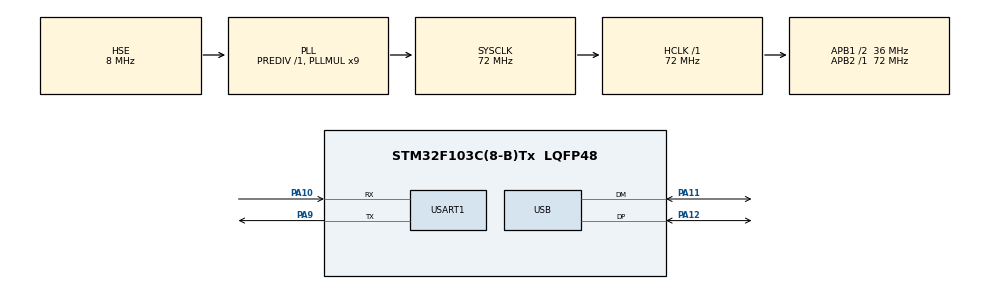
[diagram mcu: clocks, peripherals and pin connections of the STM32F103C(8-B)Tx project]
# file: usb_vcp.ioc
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Mcu.Family=STM32F1
Mcu.Name=STM32F103C(8-B)Tx
Mcu.Package=LQFP48
NVIC.PriorityGroup=NVIC_PRIORITYGROUP_4
NVIC.USB_LP_CAN1_RX0_IRQn=true\:0\:0\:false\:false\:true\:false\:true
PA10.Mode=Asynchronous
PA10.Signal=USART1_RX
PA11.Mode=Device
PA11.Signal=USB_DM
PA12.Mode=Device
PA12.Signal=USB_DP
PA13.Mode=Serial_Wire
PA13.Signal=SYS_JTMS-SWDIO
PA14.Mode=Serial_Wire
PA14.Signal=SYS_JTCK-SWCLK
PA9.Mode=Asynchronous
PA9.Signal=USART1_TX
PD0-OSC_IN.Mode=HSE-External-Oscillator
PD0-OSC_IN.Signal=RCC_OSC_IN
PD1-OSC_OUT.Mode=HSE-External-Oscillator
PD1-OSC_OUT.Signal=RCC_OSC_OUT
ProjectManager.HeapSize=0x200
ProjectManager.StackSize=0x400
ProjectManager.TargetToolchain=TrueSTUDIO
RCC.AHBFreq_Value=72000000
RCC.APB1CLKDivider=RCC_HCLK_DIV2
RCC.APB1Freq_Value=36000000
RCC.APB1TimFreq_Value=72000000
RCC.APB2Freq_Value=72000000
RCC.APB2TimFreq_Value=72000000
RCC.HCLKFreq_Value=72000000
RCC.PLLMUL=RCC_PLL_MUL9
RCC.PLLSourceVirtual=RCC_PLLSOURCE_HSE
RCC.SYSCLKFreq_VALUE=72000000
RCC.SYSCLKSource=RCC_SYSCLKSOURCE_PLLCLK
RCC.USBFreq_Value=48000000
RCC.USBPrescaler=RCC_USBCLKSOURCE_PLL_DIV1_5
USART1.VirtualMode=VM_ASYNC
USB_DEVICE.CLASS_NAME_FS=CDC
USB_DEVICE.VirtualMode=Cdc
USB_DEVICE.VirtualModeFS=Cdc_FS
VP_USB_DEVICE_VS_USB_DEVICE_CDC_FS.Mode=CDC_FS
board=custom

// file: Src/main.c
/* USER CODE BEGIN Header */
/**
  ******************************************************************************
  * @file           : main.c
  * @brief          : Main program body
  ******************************************************************************
  * This notice applies to any and all portions of this file
  * that are not between comment pairs USER CODE BEGIN and
  * USER CODE END. Other portions of this file, whether
  * inserted by the user or by software development tools
  * are owned by their respective copyright owners.
  *
  * Copyright (c) 2019 STMicroelectronics International N.V.
  * All rights reserved.
  *
  * Redistribution and use in source and binary forms, with or without
  * modification, are permitted, provided that the following conditions are met:
  *
  * 1. Redistribution of source code must retain the above copyright notice,
  *    this list of conditions and the following disclaimer.
  * 2. Redistributions in binary form must reproduce the above copyright notice,
  *    this list of conditions and the following disclaimer in the documentation
  *    and/or other materials provided with the distribution.
  * 3. Neither the name of STMicroelectronics nor the names of other
  *    contributors to this software may be used to endorse or promote products
  *    derived from this software without specific written permission.
  * 4. This software, including modifications and/or derivative works of this
  *    software, must execute solely and exclusively on microcontroller or
  *    microprocessor devices manufactured by or for STMicroelectronics.
  * 5. Redistribution and use of this software other than as permitted under
  *    this license is void and will automatically terminate your rights under
  *    this license.
  *
  * THIS SOFTWARE IS PROVIDED BY STMICROELECTRONICS AND CONTRIBUTORS "AS IS"
  * AND ANY EXPRESS, IMPLIED OR STATUTORY WARRANTIES, INCLUDING, BUT NOT
  * LIMITED TO, THE IMPLIED WARRANTIES OF MERCHANTABILITY, FITNESS FOR A
  * PARTICULAR PURPOSE AND NON-INFRINGEMENT OF THIRD PARTY INTELLECTUAL PROPERTY
  * RIGHTS ARE DISCLAIMED TO THE FULLEST EXTENT PERMITTED BY LAW. IN NO EVENT
  * SHALL STMICROELECTRONICS OR CONTRIBUTORS BE LIABLE FOR ANY DIRECT, INDIRECT,
  * INCIDENTAL, SPECIAL, EXEMPLARY, OR CONSEQUENTIAL DAMAGES (INCLUDING, BUT NOT
  * LIMITED TO, PROCUREMENT OF SUBSTITUTE GOODS OR SERVICES; LOSS OF USE, DATA,
  * OR PROFITS; OR BUSINESS INTERRUPTION) HOWEVER CAUSED AND ON ANY THEORY OF
  * LIABILITY, WHETHER IN CONTRACT, STRICT LIABILITY, OR TORT (INCLUDING
  * NEGLIGENCE OR OTHERWISE) ARISING IN ANY WAY OUT OF THE USE OF THIS SOFTWARE,
  * EVEN IF ADVISED OF THE POSSIBILITY OF SUCH DAMAGE.
  *
  ******************************************************************************
  */
/* USER CODE END Header */

#include "main.h"
#include "usb_device.h"

/* USER CODE BEGIN Includes */
#include "string.h"
#include "usbd_cdc_if.h"
/* USER CODE END Includes */

UART_HandleTypeDef huart1;

/* USER CODE BEGIN PV */
extern USBD_HandleTypeDef hUsbDeviceFS;
/* USER CODE END PV */

void SystemClock_Config(void);
static void MX_GPIO_Init(void);
static void MX_USART1_UART_Init(void);
/* USER CODE BEGIN PFP */
void USB_Reset(void);
/* USER CODE END PFP */

int main(void)
{

  /* MCU Configuration--------------------------------------------------------*/

  /* Reset of all peripherals, Initializes the Flash interface and the Systick. */
  HAL_Init();

  /* Configure the system clock */
  SystemClock_Config();

  /* Initialize all configured peripherals */
  MX_GPIO_Init();
  MX_USB_DEVICE_Init();
  MX_USART1_UART_Init();
  /* USER CODE BEGIN 2 */

  // После перегенерации в Кубе добавить USB_Reset(); в функцию MX_GPIO_Init(void) (после ...CLK_ENABLE(); )

  char str_tx[20] = {0,};
  uint8_t count = 0;
  /* USER CODE END 2 */

  /* Infinite loop */
  /* USER CODE BEGIN WHILE */
  while (1)
  {
	  snprintf(str_tx, 19, "Str %d to USB\n", count++);
	  if(hUsbDeviceFS.dev_state == USBD_STATE_CONFIGURED) CDC_Transmit_FS((uint8_t*)str_tx, strlen(str_tx));
	  HAL_Delay(500);
    /* USER CODE END WHILE */

  }
}

void SystemClock_Config(void)
{
  RCC_OscInitTypeDef RCC_OscInitStruct = {0};
  RCC_ClkInitTypeDef RCC_ClkInitStruct = {0};
  RCC_PeriphCLKInitTypeDef PeriphClkInit = {0};

  /** Initializes the CPU, AHB and APB busses clocks
  */
  RCC_OscInitStruct.OscillatorType = RCC_OSCILLATORTYPE_HSE;
  RCC_OscInitStruct.HSEState = RCC_HSE_ON;
  RCC_OscInitStruct.HSEPredivValue = RCC_HSE_PREDIV_DIV1;
  RCC_OscInitStruct.HSIState = RCC_HSI_ON;
  RCC_OscInitStruct.PLL.PLLState = RCC_PLL_ON;
  RCC_OscInitStruct.PLL.PLLSource = RCC_PLLSOURCE_HSE;
  RCC_OscInitStruct.PLL.PLLMUL = RCC_PLL_MUL9;
  if (HAL_RCC_OscConfig(&RCC_OscInitStruct) != HAL_OK)
  {
    Error_Handler();
  }
  /** Initializes the CPU, AHB and APB busses clocks
  */
  RCC_ClkInitStruct.ClockType = RCC_CLOCKTYPE_HCLK|RCC_CLOCKTYPE_SYSCLK
                              |RCC_CLOCKTYPE_PCLK1|RCC_CLOCKTYPE_PCLK2;
  RCC_ClkInitStruct.SYSCLKSource = RCC_SYSCLKSOURCE_PLLCLK;
  RCC_ClkInitStruct.AHBCLKDivider = RCC_SYSCLK_DIV1;
  RCC_ClkInitStruct.APB1CLKDivider = RCC_HCLK_DIV2;
  RCC_ClkInitStruct.APB2CLKDivider = RCC_HCLK_DIV1;

  if (HAL_RCC_ClockConfig(&RCC_ClkInitStruct, FLASH_LATENCY_2) != HAL_OK)
  {
    Error_Handler();
  }
  PeriphClkInit.PeriphClockSelection = RCC_PERIPHCLK_USB;
  PeriphClkInit.UsbClockSelection = RCC_USBCLKSOURCE_PLL_DIV1_5;
  if (HAL_RCCEx_PeriphCLKConfig(&PeriphClkInit) != HAL_OK)
  {
    Error_Handler();
  }
}

static void MX_USART1_UART_Init(void)
{

  huart1.Instance = USART1;
  huart1.Init.BaudRate = 115200;
  huart1.Init.WordLength = UART_WORDLENGTH_8B;
  huart1.Init.StopBits = UART_STOPBITS_1;
  huart1.Init.Parity = UART_PARITY_NONE;
  huart1.Init.Mode = UART_MODE_TX_RX;
  huart1.Init.HwFlowCtl = UART_HWCONTROL_NONE;
  huart1.Init.OverSampling = UART_OVERSAMPLING_16;
  if (HAL_UART_Init(&huart1) != HAL_OK)
  {
    Error_Handler();
  }

}

static void MX_GPIO_Init(void)
{

  /* GPIO Ports Clock Enable */
  __HAL_RCC_GPIOD_CLK_ENABLE();
  __HAL_RCC_GPIOA_CLK_ENABLE();

  USB_Reset();

}

/* USER CODE BEGIN 4 */

// После перегенерации в Кубе добавить USB_Reset(); в функцию MX_GPIO_Init(void) (после ...CLK_ENABLE(); )

void USB_Reset(void)
{

	 GPIO_InitTypeDef GPIO_InitStruct = {0};

	 // инициализируем пин DP как выход
	 GPIO_InitStruct.Pin = GPIO_PIN_12;
	 GPIO_InitStruct.Mode = GPIO_MODE_OUTPUT_PP;
	 GPIO_InitStruct.Speed = GPIO_SPEED_FREQ_LOW;
	 HAL_GPIO_Init(GPIOA, &GPIO_InitStruct);
	 HAL_GPIO_WritePin(GPIOA, GPIO_PIN_12, GPIO_PIN_RESET); // прижимаем DP к "земле"
	 for(uint16_t i = 0; i < 2000; i++) {}; // немного ждём

	 // переинициализируем пин для работы с USB
	 GPIO_InitStruct.Mode = GPIO_MODE_INPUT;
	 GPIO_InitStruct.Pull = GPIO_NOPULL;
	 HAL_GPIO_Init(GPIOA, &GPIO_InitStruct);
	 for(uint16_t i = 0; i < 2000; i++) {}; // немного ждём
}

/* USER CODE END 4 */

void Error_Handler(void)
{
}

/************************ (C) COPYRIGHT STMicroelectronics *****END OF FILE****/
